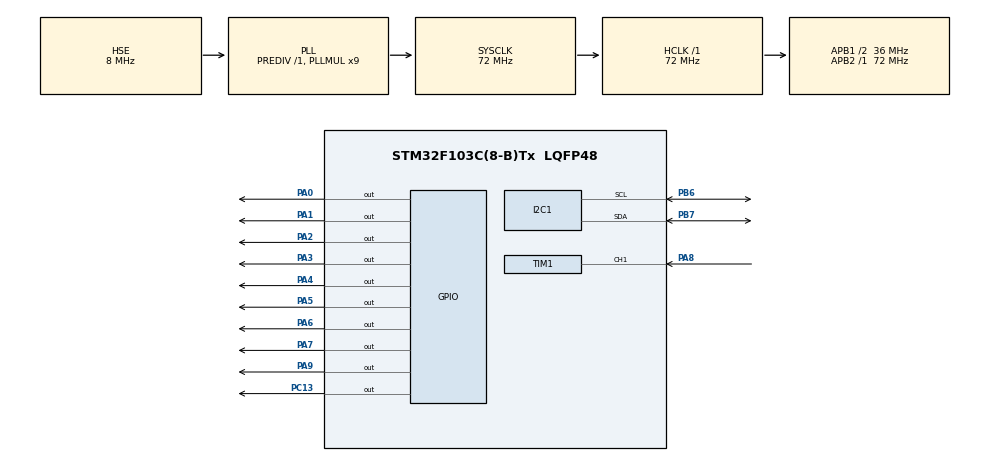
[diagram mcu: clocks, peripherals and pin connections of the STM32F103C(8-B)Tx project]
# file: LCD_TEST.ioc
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Mcu.Family=STM32F1
Mcu.Name=STM32F103C(8-B)Tx
Mcu.Package=LQFP48
NVIC.PriorityGroup=NVIC_PRIORITYGROUP_4
NVIC.TIM1_CC_IRQn=true\:0\:0\:false\:false\:true\:true\:true
PA0-WKUP.Signal=GPIO_Output
PA1.Signal=GPIO_Output
PA13.Mode=Serial_Wire
PA13.Signal=SYS_JTMS-SWDIO
PA14.Mode=Serial_Wire
PA14.Signal=SYS_JTCK-SWCLK
PA2.Signal=GPIO_Output
PA3.Signal=GPIO_Output
PA4.Signal=GPIO_Output
PA5.Signal=GPIO_Output
PA6.Signal=GPIO_Output
PA7.Signal=GPIO_Output
PA8.Signal=S_TIM1_CH1
PA9.Signal=GPIO_Output
PB6.Mode=I2C
PB6.Signal=I2C1_SCL
PB7.Mode=I2C
PB7.Signal=I2C1_SDA
PC13-TAMPER-RTC.Signal=GPIO_Output
PD0-OSC_IN.Mode=HSE-External-Oscillator
PD0-OSC_IN.Signal=RCC_OSC_IN
PD1-OSC_OUT.Mode=HSE-External-Oscillator
PD1-OSC_OUT.Signal=RCC_OSC_OUT
ProjectManager.HeapSize=0x200
ProjectManager.StackSize=0x400
ProjectManager.TargetToolchain=STM32CubeIDE
RCC.AHBFreq_Value=72000000
RCC.APB1CLKDivider=RCC_HCLK_DIV2
RCC.APB1Freq_Value=36000000
RCC.APB1TimFreq_Value=72000000
RCC.APB2Freq_Value=72000000
RCC.APB2TimFreq_Value=72000000
RCC.HCLKFreq_Value=72000000
RCC.PLLMUL=RCC_PLL_MUL9
RCC.PLLSourceVirtual=RCC_PLLSOURCE_HSE
RCC.SYSCLKFreq_VALUE=72000000
RCC.SYSCLKSource=RCC_SYSCLKSOURCE_PLLCLK
RCC.USBFreq_Value=72000000
SH.S_TIM1_CH1.0=TIM1_CH1,Input_Capture1_from_TI1
TIM1.Channel-Input_Capture1_from_TI1=TIM_CHANNEL_1
TIM1.Period=0xffff-1
TIM1.Prescaler=72-1
board=custom

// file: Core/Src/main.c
/* USER CODE BEGIN Header */
/**
  ******************************************************************************
  * @file           : main.c
  * @brief          : Main program body
  ******************************************************************************
  * @attention
  *
  * <h2><center>&copy; Copyright (c) 2025 STMicroelectronics.
  * All rights reserved.</center></h2>
  *
  * This software component is licensed by ST under BSD 3-Clause license,
  * the "License"; You may not use this file except in compliance with the
  * License. You may obtain a copy of the License at:
  *                        opensource.org/licenses/BSD-3-Clause
  *
  ******************************************************************************
  */
/* USER CODE END Header */
#include "main.h"

/* USER CODE BEGIN Includes */
#include "tv_lcd_i2c.h"
#include "i2c.h"
#include "ADMIN.h"
#include "fsm_vm.h"
#include "keypad.h"
/* USER CODE END Includes */

I2C_HandleTypeDef hi2c1;

TIM_HandleTypeDef htim1;

void SystemClock_Config(void);
static void MX_GPIO_Init(void);
static void MX_I2C1_Init(void);
static void MX_TIM1_Init(void);

/* USER CODE BEGIN 0 */
uint8_t I2C_Check_Any_Device(void)
{
    for (uint8_t addr = 1; addr < 127; addr++)
    {
        if (HAL_I2C_IsDeviceReady(&hi2c1, (addr << 1), 3, 10) == HAL_OK)
        {
            return 1;   // Tìm thấy thiết bị I2C bất kỳ
        }
    }
    return 0; // Không tìm thấy gì
}

uint8_t I2C_Find_Address(void)
{
    for (uint8_t addr = 1; addr < 127; addr++)
    {
        if (HAL_I2C_IsDeviceReady(&hi2c1, (addr << 1), 3, 10) == HAL_OK)
        {
            return addr;   // trả v�? địa chỉ 7-bit tìm được
        }
    }
    return 0;
}

uint32_t IC_Val1 = 0;
uint32_t IC_Val2 = 0;
uint32_t Difference = 0;
uint8_t Is_First_Captured = 0;
uint16_t Distance  = 0;

/* USER CODE END 0 */

int main(void)
{

  /* MCU Configuration--------------------------------------------------------*/

  /* Reset of all peripherals, Initializes the Flash interface and the Systick. */
  HAL_Init();

  /* Configure the system clock */
  SystemClock_Config();

  /* Initialize all configured peripherals */
  MX_GPIO_Init();
  MX_I2C1_Init();
  MX_TIM1_Init();
  /* USER CODE BEGIN 2 */
  Sensor_Init();

  /* USER CODE END 2 */

  /* Infinite loop */
  /* USER CODE BEGIN WHILE */
  HAL_GPIO_WritePin(GPIOC, GPIO_PIN_13, GPIO_PIN_SET);
  HAL_Delay(200);   // Ch�? ổn định

  	  uint8_t found = I2C_Check_Any_Device();
      if (!found)
      {
          // Không tìm thấy -> nháy nhanh mãi
          while (1)
          {
              HAL_GPIO_TogglePin(GPIOC, GPIO_PIN_13);
              HAL_Delay(150);
          }
      }

      // 2) Tìm địa chỉ cụ thể
      uint8_t address = I2C_Find_Address();   // địa chỉ 7-bit
      if (address == 0)
      {
          // Không nên xảy ra vì ở trên đã "found"
          while (1)
          {
              HAL_GPIO_TogglePin(GPIOC, GPIO_PIN_13);
              HAL_Delay(100);
          }
      }

      // Báo tìm thấy địa chỉ (3 lần nháy chậm)
      for (int i = 0; i < 3; i++)
      {
          HAL_GPIO_WritePin(GPIOC, GPIO_PIN_13, GPIO_PIN_RESET);
          HAL_Delay(500);
          HAL_GPIO_WritePin(GPIOC, GPIO_PIN_13, GPIO_PIN_SET);
          HAL_Delay(500);
      }

      // 3) Tắt I2C1 của HAL, trả PB6/PB7 v�? GPIO
      HAL_I2C_DeInit(&hi2c1);

      // 4) Khởi tạo I2C m�?m trên PB7 (SDA), PB6 (SCL)
      I2C_init(GPIOB, GPIO_PIN_7, GPIOB, GPIO_PIN_6);

      // 5) Khởi tạo LCD với địa chỉ 7-bit vừa tìm được
      lcd_init(address);
      fsm_init();

        // In tiêu đề test
//        lcd_clear();
//        lcd_gotoxy(0, 0);
//        lcd_write_string("SENSOR MODULE");
//        HAL_Delay(1000);
      while (1)
      {
    	  fsm_vm_run();
    	  /*
    	  HCSR04_Read();
    	  lcd_gotoxy(0, 0);
    	  char dist_str[20];
    	  snprintf(dist_str, sizeof(dist_str), "Dist: %u cm    ", Distance);
    	  lcd_gotoxy(0, 0);
    	  lcd_write_string(dist_str);
    	  */
    	  /*
    	  Sensor_Trigger();
    	        // 4. Chờ 100ms để sóng đi và về (đủ cho khoảng cách ~17 mét)
    	        // Lúc này ngắt sẽ xảy ra ngầm và cập nhật biến Distance

    	        // 5. Hiển thị kết quả
    	        // Biến 'Distance' được lấy từ sensor.h (extern volatile uint16_t Distance)
    	        char dist_str[20];
    	        snprintf(dist_str, sizeof(dist_str), "Dist: %u cm    ", Distance);

    	        lcd_gotoxy(0, 1);
    	        lcd_write_string(dist_str);
    	        HAL_GPIO_TogglePin(GPIOC, GPIO_PIN_13);
    	        //HAL_Delay(100);
    	        // Nháy đèn PC13 để biết chương trình vẫn đang chạy (không bị treo)

    	        // Đợi 0.5s trước khi đo lần tiếp theo cho dễ nhìn
    	         */

      }
    /* USER CODE END WHILE */

}

void SystemClock_Config(void)
{
  RCC_OscInitTypeDef RCC_OscInitStruct = {0};
  RCC_ClkInitTypeDef RCC_ClkInitStruct = {0};

  /** Initializes the RCC Oscillators according to the specified parameters
  * in the RCC_OscInitTypeDef structure.
  */
  RCC_OscInitStruct.OscillatorType = RCC_OSCILLATORTYPE_HSE;
  RCC_OscInitStruct.HSEState = RCC_HSE_ON;
  RCC_OscInitStruct.HSEPredivValue = RCC_HSE_PREDIV_DIV1;
  RCC_OscInitStruct.HSIState = RCC_HSI_ON;
  RCC_OscInitStruct.PLL.PLLState = RCC_PLL_ON;
  RCC_OscInitStruct.PLL.PLLSource = RCC_PLLSOURCE_HSE;
  RCC_OscInitStruct.PLL.PLLMUL = RCC_PLL_MUL9;
  if (HAL_RCC_OscConfig(&RCC_OscInitStruct) != HAL_OK)
  {
    Error_Handler();
  }
  /** Initializes the CPU, AHB and APB buses clocks
  */
  RCC_ClkInitStruct.ClockType = RCC_CLOCKTYPE_HCLK|RCC_CLOCKTYPE_SYSCLK
                              |RCC_CLOCKTYPE_PCLK1|RCC_CLOCKTYPE_PCLK2;
  RCC_ClkInitStruct.SYSCLKSource = RCC_SYSCLKSOURCE_PLLCLK;
  RCC_ClkInitStruct.AHBCLKDivider = RCC_SYSCLK_DIV1;
  RCC_ClkInitStruct.APB1CLKDivider = RCC_HCLK_DIV2;
  RCC_ClkInitStruct.APB2CLKDivider = RCC_HCLK_DIV1;

  if (HAL_RCC_ClockConfig(&RCC_ClkInitStruct, FLASH_LATENCY_2) != HAL_OK)
  {
    Error_Handler();
  }
}

static void MX_I2C1_Init(void)
{

  hi2c1.Instance = I2C1;
  hi2c1.Init.ClockSpeed = 100000;
  hi2c1.Init.DutyCycle = I2C_DUTYCYCLE_2;
  hi2c1.Init.OwnAddress1 = 0;
  hi2c1.Init.AddressingMode = I2C_ADDRESSINGMODE_7BIT;
  hi2c1.Init.DualAddressMode = I2C_DUALADDRESS_DISABLE;
  hi2c1.Init.OwnAddress2 = 0;
  hi2c1.Init.GeneralCallMode = I2C_GENERALCALL_DISABLE;
  hi2c1.Init.NoStretchMode = I2C_NOSTRETCH_DISABLE;
  if (HAL_I2C_Init(&hi2c1) != HAL_OK)
  {
    Error_Handler();
  }

}

static void MX_TIM1_Init(void)
{

  TIM_MasterConfigTypeDef sMasterConfig = {0};
  TIM_IC_InitTypeDef sConfigIC = {0};

  htim1.Instance = TIM1;
  htim1.Init.Prescaler = 72-1;
  htim1.Init.CounterMode = TIM_COUNTERMODE_UP;
  htim1.Init.Period = 0xffff-1;
  htim1.Init.ClockDivision = TIM_CLOCKDIVISION_DIV1;
  htim1.Init.RepetitionCounter = 0;
  htim1.Init.AutoReloadPreload = TIM_AUTORELOAD_PRELOAD_DISABLE;
  if (HAL_TIM_IC_Init(&htim1) != HAL_OK)
  {
    Error_Handler();
  }
  sMasterConfig.MasterOutputTrigger = TIM_TRGO_RESET;
  sMasterConfig.MasterSlaveMode = TIM_MASTERSLAVEMODE_DISABLE;
  if (HAL_TIMEx_MasterConfigSynchronization(&htim1, &sMasterConfig) != HAL_OK)
  {
    Error_Handler();
  }
  sConfigIC.ICPolarity = TIM_INPUTCHANNELPOLARITY_RISING;
  sConfigIC.ICSelection = TIM_ICSELECTION_DIRECTTI;
  sConfigIC.ICPrescaler = TIM_ICPSC_DIV1;
  sConfigIC.ICFilter = 0;
  if (HAL_TIM_IC_ConfigChannel(&htim1, &sConfigIC, TIM_CHANNEL_1) != HAL_OK)
  {
    Error_Handler();
  }

}

static void MX_GPIO_Init(void)
{
  GPIO_InitTypeDef GPIO_InitStruct = {0};

  /* GPIO Ports Clock Enable */
  __HAL_RCC_GPIOC_CLK_ENABLE();
  __HAL_RCC_GPIOD_CLK_ENABLE();
  __HAL_RCC_GPIOA_CLK_ENABLE();
  __HAL_RCC_GPIOB_CLK_ENABLE();

  /*Configure GPIO pin Output Level */
  HAL_GPIO_WritePin(GPIOC, GPIO_PIN_13, GPIO_PIN_RESET);

  /*Configure GPIO pin Output Level */
  HAL_GPIO_WritePin(GPIOA, GPIO_PIN_0|GPIO_PIN_1|GPIO_PIN_2|GPIO_PIN_3
                          |GPIO_PIN_4|GPIO_PIN_5|GPIO_PIN_6|GPIO_PIN_7
                          |GPIO_PIN_9, GPIO_PIN_RESET);

  /*Configure GPIO pin : PC13 */
  GPIO_InitStruct.Pin = GPIO_PIN_13;
  GPIO_InitStruct.Mode = GPIO_MODE_OUTPUT_PP;
  GPIO_InitStruct.Pull = GPIO_NOPULL;
  GPIO_InitStruct.Speed = GPIO_SPEED_FREQ_LOW;
  HAL_GPIO_Init(GPIOC, &GPIO_InitStruct);

  /*Configure GPIO pins : PA0 PA1 PA2 PA3
                           PA4 PA5 PA6 PA7
                           PA9 */
  GPIO_InitStruct.Pin = GPIO_PIN_0|GPIO_PIN_1|GPIO_PIN_2|GPIO_PIN_3
                          |GPIO_PIN_4|GPIO_PIN_5|GPIO_PIN_6|GPIO_PIN_7
                          |GPIO_PIN_9;
  GPIO_InitStruct.Mode = GPIO_MODE_OUTPUT_PP;
  GPIO_InitStruct.Pull = GPIO_NOPULL;
  GPIO_InitStruct.Speed = GPIO_SPEED_FREQ_LOW;
  HAL_GPIO_Init(GPIOA, &GPIO_InitStruct);

}

void Error_Handler(void)
{
  __disable_irq();
  while (1)
  {
  }
}

/************************ (C) COPYRIGHT STMicroelectronics *****END OF FILE****/
